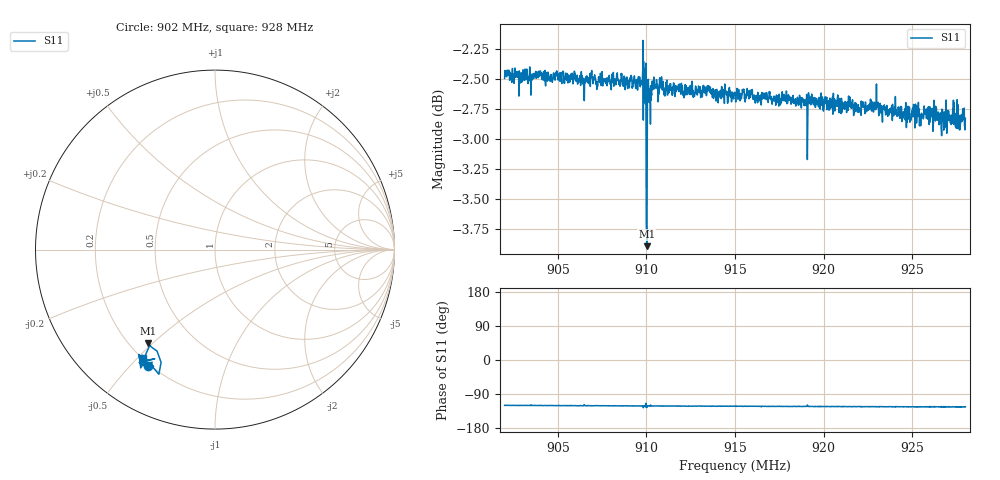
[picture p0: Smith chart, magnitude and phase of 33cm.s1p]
! Calibrated averaged scanner-service zoom
# Hz S RI R 50
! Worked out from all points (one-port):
!   2001 points, 902 MHz to 928 MHz, reference 50 ohm
!   lowest |S11| = -3.9 dB at 910.02 MHz (marker M1), VSWR 4.54, Z = 13.8 - j24.2 ohm
!   |S11| at or under -10 dB: nowhere
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9.02e8  -0.3746 -0.6505
9.0525e8  -0.3795 -0.6529
9.06316e8  -0.3797 -0.6507
9.06381e8  -0.3836 -0.6453
9.06602e8  -0.3815 -0.6463
9.06654e8  -0.3823 -0.6447
9.06979e8  -0.3843 -0.6404
9.07265e8  -0.3805 -0.644
9.085e8  -0.3819 -0.6436
9.09501e8  -0.3851 -0.6346
9.09813e8  -0.4138 -0.6594
9.09852e8  -0.3906 -0.6395
9.09917e8  -0.3896 -0.6333
9.10021e8  -0.3714 -0.52
9.10099e8  -0.3837 -0.6422
9.10125e8  -0.3805 -0.6356
9.1019e8  -0.3904 -0.6297
9.10372e8  -0.3882 -0.6375
9.1175e8  -0.3875 -0.6355
9.15e8  -0.3931 -0.6266
9.1825e8  -0.3987 -0.618
9.18913e8  -0.3914 -0.6212
9.18978e8  -0.3943 -0.6161
9.19251e8  -0.395 -0.6227
9.19537e8  -0.3943 -0.6144
9.215e8  -0.4001 -0.6141
9.2475e8  -0.3966 -0.6105
9.28e8  -0.4001 -0.6016
